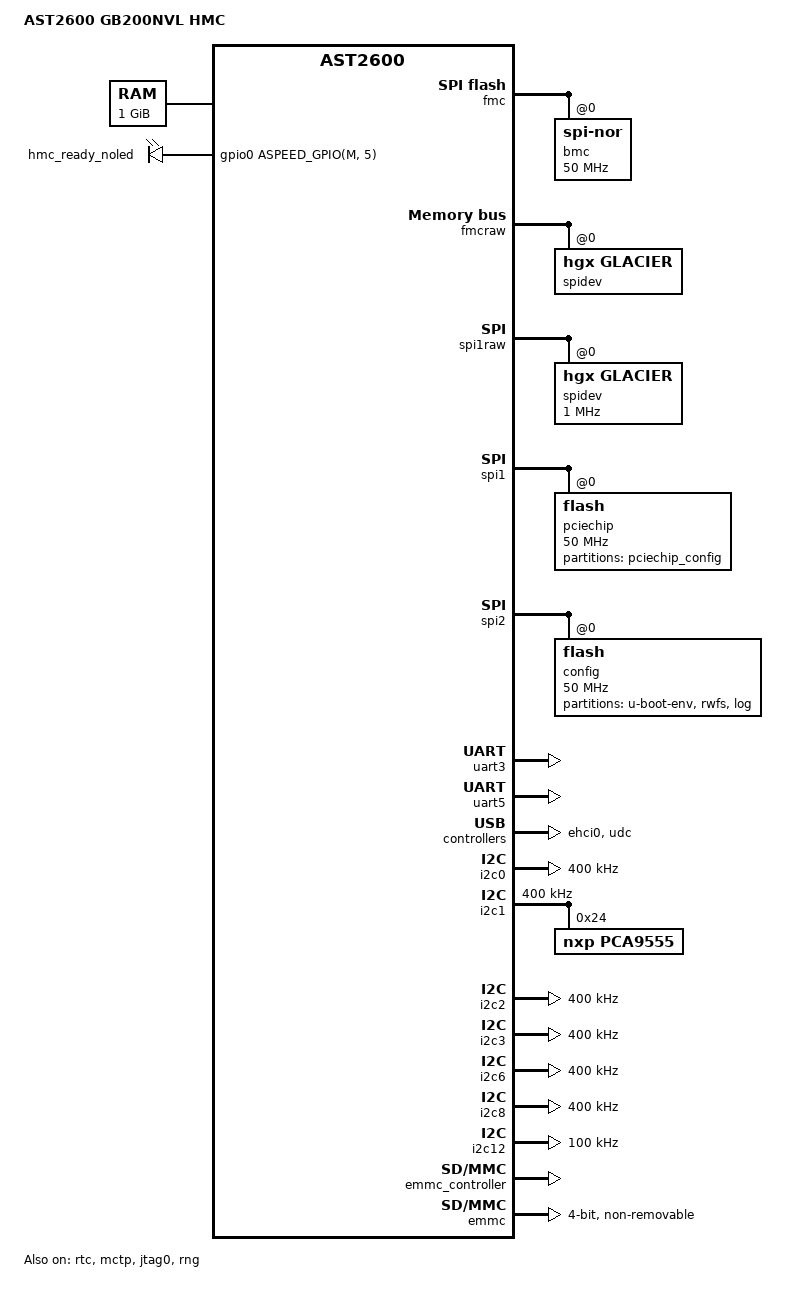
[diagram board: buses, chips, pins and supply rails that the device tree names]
// SPDX-License-Identifier: GPL-2.0+
/dts-v1/;

#include "nvidia-gb200nvl-hmc-core.dtsi"
#include <dt-bindings/leds/common.h>

/ {
	model = "AST2600 GB200NVL HMC";
	compatible = "aspeed,ast2600";

	aliases {
                serial2 = &uart3;
		serial4 = &uart5;
	};

	chosen {
		stdout-path = &uart5;
		bootargs = "console=tty0 console=ttyS4,115200 earlyprintk";
	};

	memory@80000000 {
		reg = <0x80000000 0x40000000>;
	};

	reserved-memory {
		#address-cells = <1>;
		#size-cells = <1>;
		ranges;

		ramoops@a0000000 {
			compatible = "ramoops";
			reg = <0xa0000000 0x100000>; /* 1MB */
			record-size = <0x10000>; /* 64KB */
			max-reason = <2>; /* KMSG_DUMP_OOPS */
		};
	};

        power-gpios{
                n2-gpios = <&gpio0 ASPEED_GPIO(N, 2) (GPIO_ACTIVE_HIGH|GPIO_PULL_UP)>;
                n3-gpios = <&gpio0 ASPEED_GPIO(N, 3) (GPIO_ACTIVE_HIGH|GPIO_PULL_UP)>;
        };
        leds {
            compatible = "gpio-leds";
            // Non-LEDs:
            //   HMC_READY-O GPIO pin (not an LED) is being bound to the GPIO LED driver.
            // Notes:
            // * This a workaround and leverages the GPIO LED driver to enable control of
            //   reset tolerance and still allow the GPIO to be controlled from user space.
            // * The standard Linux GPIO driver allows control of reset tolerance, however
            //   does not expose user space APIs for user space control of the GPIO pin.
            // * GPIO_TRANSITORY = reset tolerance is disabled
            // * Any non-leds should be added below this line.
            hmc_ready_noled {
                gpios = <&gpio0 ASPEED_GPIO(M, 5) (GPIO_ACTIVE_HIGH|GPIO_TRANSITORY)>;
            };
        };
};





&fmc {
    status = "okay";
    flash@0 {
        status = "okay";
        compatible = "jedec,spi-nor";
        label = "bmc";
        spi-max-frequency = <50000000>;
#include "aspeed/aspeed-bmc-nvidia-gh-flash-layout-64.dtsi"
    };
};

&fmcraw {
    status = "okay";
    spidev@0 {
        compatible = "hgx,glacier";
        status = "okay";
    };
};

&spi1raw {
    status = "okay";
    pinctrl-names = "default";
    pinctrl-0 = <&pinctrl_spi1_default>;
    spidev@0 {
        spi-max-frequency = <1000000>;
        compatible = "hgx,glacier";
        status = "okay";
    };
};

&spi1 {
    status = "okay";
    pinctrl-names = "default";
    pinctrl-0 = <&pinctrl_spi1_default>;
    flash@0 {
        status = "okay";
        label = "pciechip";
        spi-max-frequency = <50000000>;
        partitions {
            compatible = "fixed-partitions";
            #address-cells = <1>;
            #size-cells = <1>;

            cfg-env@0 {
                reg = <0x0 0x10000>;            // 128KB at offset 0
                label = "pciechip_config";
            };

        };
    };
};

&spi2 {
    status = "okay";
    pinctrl-names = "default";
    pinctrl-0 = <&pinctrl_spi2_default>;

    // Data SPI is 64MB in size
    flash@0 {
        status = "okay";
        label = "config";
        spi-max-frequency = <50000000>;
        partitions {
            compatible = "fixed-partitions";
            #address-cells = <1>;
            #size-cells = <1>;

            u-boot-env@0 {
                reg = <0x0 0x40000>;            // 256KB at offset 0
                label = "u-boot-env";
            };

            rwfs@40000 {
                reg = <0x40000 0x1000000>;      // 16MB at offset 0x40000
                label = "rwfs";
            };

            log@0x1040000 {
                reg = <0x1040000 0x2800000>;    // 40MB at offset 0x1040000
                label = "log";                  // Move log to EMMC, make this unused
            };
        };
    };
};

&rtc {
        status = "okay";
};

&uart3 {
	status = "okay";
};

&uart5 {
	// BMC Debug Console
	status = "okay";
};

/*
 * Enable port A as device (via the virtual hub) and port B as
 * host by default on the eval board. This can be easily changed
 * by replacing the override below with &ehci0 { ... } to enable
 * host on both ports.
 */
&ehci0 {
   status = "okay";
};
// USB 2.0 to HMC & Host BMC connectivity
&udc {
    status = "okay";
};

// I2C1
&i2c0 {             
    status = "okay";
    clock-frequency = <400000>;
    multi-master;
    i2c-scl-clk-low-timeout-us = <32000>;
    i2c-tck-thddat-config = <0x0099EC00>;
};                  

// I2C2
// Module 0 PFGA
&i2c1 {
    status = "okay";
    clock-frequency = <400000>;
    i2c-tck-thddat-config = <0x0099EC00>;
    pca9555@24 {
        compatible = "nxp,pca9555";
        reg = <0x24>;
        gpio-controller;
        #gpio-cells = <2>;

        #address-cells = <1>;
        #size-cells = <0>;

        gpio-line-names =
            "HMC_SPI_MUX_SEL_1V8",
            "BRDG_INT_N",
            "BRDG_RESET_N",
            "BRDG_MUX_SEL_IOX",
            "MUX_SEL_FPGA_BRDG_1V8",
            "IO_BRD_B2B_SPI_MUX_SEL",
            "IOEXP3_0_6",
            "IOEXP3_0_7",
            "IOEXP3_1_0",
            "IOEXP3_1_1",
            "IOEXP3_1_2",
            "IOEXP3_1_3",
            "IOEXP3_1_4",
            "IOEXP3_1_5",
            "IOEXP3_1_6",
            "IOEXP3_1_7";
    };
};

// I2C3
// Module 1 PFGA
&i2c2 {             
    status = "okay";
    clock-frequency = <400000>;
    i2c-tck-thddat-config = <0x0099EC00>;
};    

// I2C4
// HMC FRU EEPROM
&i2c3 {
    status = "okay";
    clock-frequency = <400000>;
    multi-master;
    i2c-scl-clk-low-timeout-us = <32000>;
    i2c-tck-thddat-config = <0x0099EC00>;
};

// I2C5
&i2c4 {
    status = "disabled";
};

// I2C6
&i2c5 {
    status = "disabled";
};

// I2C7
// MUX to M.2
&i2c6 {
    status = "okay";
    clock-frequency = <400000>;
    i2c-tck-thddat-config = <0x0099EC00>;
};

// I2C8
&i2c7 {
    status = "disabled";
};

// I2C9
// HMC Temp Sensor
// CPLD
&i2c8 {
    status = "okay";
    // This bus should run at default speed 100KHz
    clock-frequency = <400000>;
    i2c-tck-thddat-config = <0x0099EC00>;
};

// I2C10
&i2c9 {
    status = "disabled";
};

// I2C11
&i2c10 {
    status = "disabled";
};

// I2C12
&i2c11 {
    status = "disabled";
};

// I2C13
// MUX to UPHY3 SMBus A 2P (Module 1)
&i2c12 {
    status = "okay";
    clock-frequency = <100000>;
    multi-master;
    i2c-scl-clk-low-timeout-us = <32000>;
    i2c-tck-thddat-config = <0x00EFD000>;
};

// I2C14
&i2c13 {
    status = "disabled";
};

// I2C15
&i2c14 {
    status = "disabled";
};

// I2C16
&i2c15 {
    status = "disabled";
};

&mctp {
    status = "okay";
};

&jtag0 {
    mux-gpios = <&gpio0 186 (GPIO_ACTIVE_HIGH | GPIO_PULL_UP)>;
    status = "okay";
};

// Enable emmc
&emmc_controller {
    status = "okay";
};

&emmc {
    non-removable;
    bus-width = <4>;
    max-frequency = <52000000>;
};

&rng {
        status = "okay";
};
